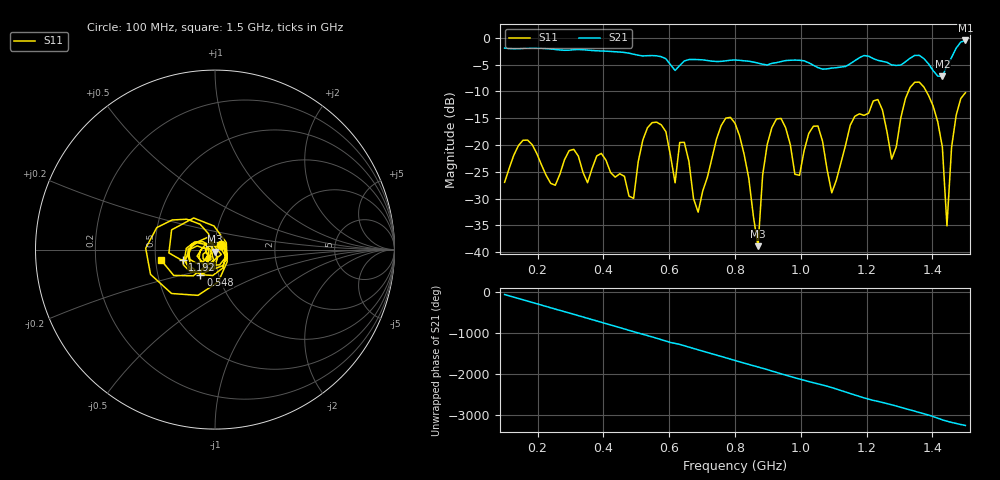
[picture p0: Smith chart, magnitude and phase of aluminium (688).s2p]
! NanoVNA-App
! Date: 2025-09-25 15:00:38
! Start: 100MHz Stop: 1,5GHz Points: 101
! S-Parameter data: F S11 S21 S12 S22
# Hz S RI R 50
!  Frequency  S11_Real  S11_Imag  S21_Real  S21_Imag  S12_Real  S12_Imag  S22_Real  S22_Imag
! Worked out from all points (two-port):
!   101 points, 100 MHz to 1.5 GHz, reference 50 ohm
!   highest |S21| = -0.49 dB at 1.5 GHz (marker M1); lowest = -7.2 dB at 1.43 GHz (marker M2)
!   |S21| within 3 dB of the highest: start of sweep to 573.2 MHz; 1.459 GHz to end of sweep (the widest 2 of 4)
!   lowest |S11| = -38.9 dB at 870 MHz (marker M3), VSWR 1.02, Z = 50.1 - j1.13 ohm
!   |S11| at or under -10 dB: start of sweep to 1.327 GHz; 1.381 GHz to end of sweep
!   S12 and S22 are empty: the file has one direction only
!   S11 on the Smith chart (normalised r, x): 100 MHz: 1.07, +0.06; 548 MHz: 0.82, -0.23; 1.192 GHz: 0.69, -0.08; 1.5 GHz: 0.53, -0.07
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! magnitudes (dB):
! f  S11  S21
! 100 MHz  -27.0  -1.9
! 156 MHz  -19.1  -2.0
! 338 MHz  -25.1  -2.2
! 492 MHz  -30.0  -3.1
! 548 MHz  -15.8  -3.3
! 576 MHz  -16.2  -3.5
! 646 MHz  -19.5  -4.3
! 688 MHz  -32.5  -4.1
! 800 MHz  -15.9  -4.1
! 870 MHz  -38.9  -4.7
! 912 MHz  -16.8  -4.8
! 996 MHz  -25.7  -4.2
! 1.038 GHz  -16.5  -5.1
! 1.094 GHz  -28.9  -5.6
! 1.192 GHz  -14.5  -3.3
! 1.234 GHz  -11.5  -4.2
! 1.276 GHz  -22.6  -5.0
! 1.346 GHz  -8.3  -3.3
! 1.43 GHz  -20.4  -7.2
! 1.444 GHz  -35.1  -5.2
! 1.458 GHz  -20.4  -3.7
! 1.5 GHz  -10.2  -0.5
